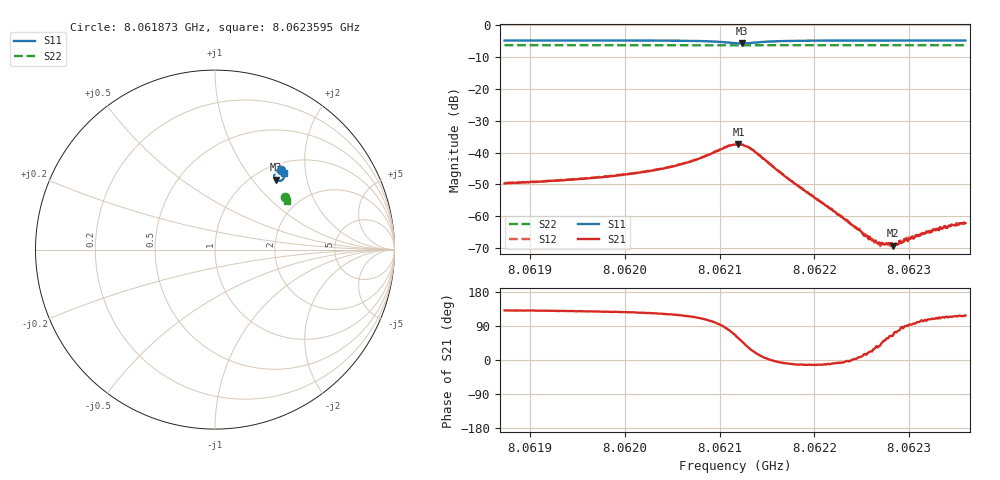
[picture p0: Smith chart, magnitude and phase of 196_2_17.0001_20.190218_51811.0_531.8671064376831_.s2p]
#  HZ  S  RI  R  50.00
! Rohde & Schwarz Vector Network Analyzer
! Rohde-Schwarz,ZNB20-2Port,1311601062101988,3.16
! Created: UTC 3/20/2024, 11:00:52 PM
! freq[Hz]  re:S11  im:S11  re:S21  im:S21  re:S12  im:S12  re:S22  im:S22
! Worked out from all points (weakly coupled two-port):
!   401 points, 8.061873 GHz to 8.0623595 GHz, reference 50 ohm
!   highest |S21| = -37.35 dB at 8.0621199 GHz (marker M1); lowest = -69.3 dB at 8.0622829 GHz (marker M2)
!   lowest |S11| = -5.7 dB at 8.0621235 GHz (marker M3), VSWR 3.14, Z = 62.1 + j66.2 ohm
!   |S11| at or under -10 dB: nowhere
!   |S22| runs from -6.3 to -6.3 dB; largest |S21 - S12| = 0.0011
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8.06187298e9  0.3683 0.4425  -0.00213 0.00247  -0.00202 0.00262  0.3872 0.2943
8.06195447e9  0.3746 0.4368  -0.0024 0.00301  -0.00227 0.00318  0.3901 0.2903
8.06199704e9  0.3784 0.4325  -0.00265 0.00358  -0.0025 0.00376  0.3917 0.2881
8.06203596e9  0.3825 0.4263  -0.00292 0.00459  -0.0027 0.0048  0.3929 0.2859
8.06207123e9  0.3862 0.4152  -0.00299 0.00674  -0.00259 0.00699  0.3941 0.2839
8.06211623e9  0.3541 0.383  0.00531 0.0122  0.00634 0.012  0.3935 0.2808
8.06211988e9  0.3457 0.3855  0.00726 0.0115  0.00799 0.0109  0.3934 0.2809
8.06212353e9  0.3385 0.3905  0.00872 0.00995  0.00941 0.00949  0.3932 0.281
8.06213447e9  0.3298 0.4133  0.00999 0.00463  0.0104 0.0041  0.3936 0.2816
8.06217218e9  0.3562 0.4394  0.00384 -0.000635  0.00383 -0.000869  0.3964 0.2806
8.06219772e9  0.3658 0.4386  0.00203 -0.00047  0.00203 -0.0006  0.3975 0.2792
8.06223421e9  0.3734 0.4357  0.000852 -4.14e-05  0.000863 -0.00012  0.399 0.2773
8.06225488e9  0.3763 0.4341  0.000471 0.000113  0.000491 9.11e-05  0.3995 0.2763
8.06226096e9  0.377 0.4338  0.000383 0.00016  0.00041 0.00016  0.3999 0.2759
8.06227069e9  0.3782 0.4331  0.000262 0.00025  0.00028 0.000229  0.4002 0.2754
8.06227921e9  0.3791 0.4325  0.000173 0.000333  0.000215 0.000283  0.4004 0.2751
8.06228286e9  0.3795 0.4322  0.000153 0.000309  0.000158 0.000328  0.4006 0.2748
8.06228529e9  0.3797 0.432  9.85e-05 0.000356  0.000132 0.000336  0.4007 0.2747
8.06230597e9  0.3817 0.4307  -4.86e-05 0.000463  -2.87e-05 0.000479  0.4014 0.2736
8.06231691e9  0.3826 0.43  -0.000144 0.000509  -0.000115 0.000499  0.4018 0.273
8.06233029e9  0.3837 0.4291  -0.000207 0.000606  -0.000203 0.000587  0.4022 0.2724
8.06235948e9  0.386 0.4275  -0.000361 0.000689  -0.000328 0.000719  0.4033 0.271
